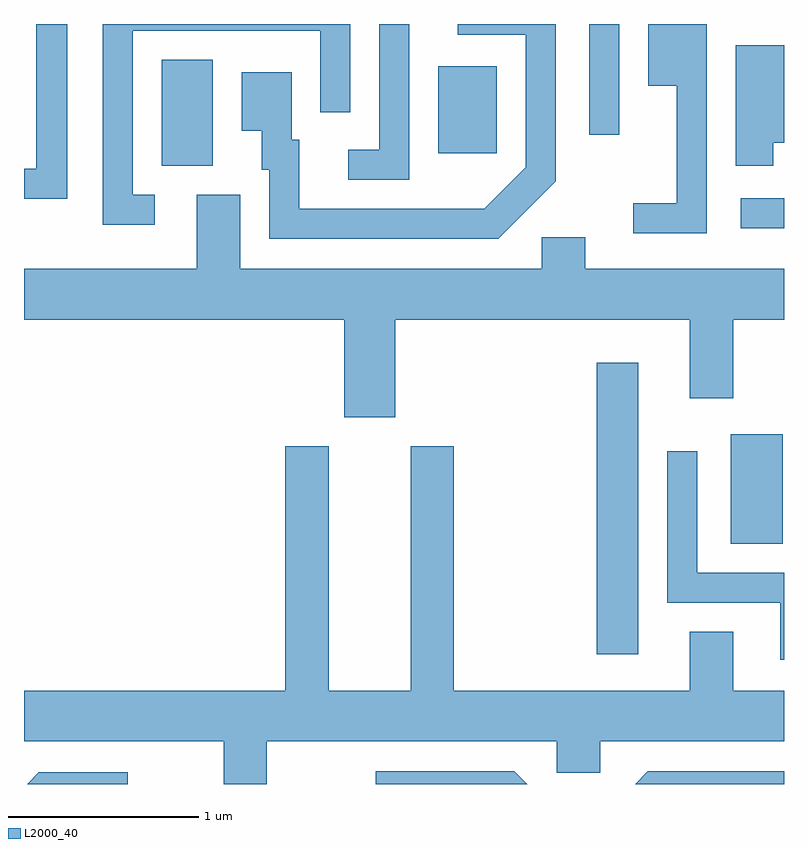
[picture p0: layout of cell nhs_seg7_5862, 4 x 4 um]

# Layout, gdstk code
import gdstk
lib = gdstk.Library(unit=1e-6, precision=1e-09)
def R(c, l, rs):  # rectangles x0, y0, x1, y1
    for r in rs: c.add(gdstk.rectangle(r[:2], r[2:], *l))
def P(c, l, *ps):  # polygons
    for p in ps: c.add(gdstk.Polygon(p, *l))
L2000_40 = (2000, 40)

nhs_seg7_5862 = lib.new_cell('nhs_seg7_5862')
R(nhs_seg7_5862, L2000_40, [(366.626,1776.936,366.844,1778.469), (367.331,1777.516,367.604,1778.094), (367.383,1779.176,367.611,1779.334), (364.336,1779.506,364.604,1780.064), (365.791,1779.571,366.099,1780.029), (366.586,1779.668,366.744,1780.252)])
P(nhs_seg7_5862, L2000_40, [(366.409,1779.424),(366.409,1780.252),(365.893,1780.252),(365.893,1780.196),(366.251,1780.196),(366.251,1779.497),(366.034,1779.279),(365.059,1779.279),(365.059,1779.644),(365.019,1779.644),(365.019,1779.999),(364.756,1779.999),(364.756,1779.691),(364.861,1779.691),(364.861,1779.486),(364.901,1779.486),(364.901,1779.121),(366.107,1779.121)],
  [(365.639,1780.252),(365.481,1780.252),(365.481,1779.589),(365.318,1779.589),(365.318,1779.431),(365.639,1779.431)],
  [(363.839,1780.252),(363.676,1780.252),(363.676,1779.489),(363.611,1779.489),(363.611,1779.331),(363.839,1779.331)],
  [(364.298,1779.354),(364.184,1779.354),(364.184,1780.216),(365.171,1780.216),(365.171,1779.788),(365.329,1779.788),(365.329,1780.252),(364.026,1780.252),(364.026,1779.196),(364.298,1779.196)],
  [(367.204,1780.252),(366.896,1780.252),(366.896,1779.926),(367.046,1779.926),(367.046,1779.309),(366.818,1779.309),(366.818,1779.151),(367.204,1779.151)],
  [(367.554,1779.626),(367.611,1779.626),(367.611,1780.139),(367.356,1780.139),(367.356,1779.506),(367.554,1779.506)],
  [(365.564,1778.696),(367.116,1778.696),(367.116,1778.281),(367.344,1778.281),(367.344,1778.696),(367.611,1778.696),(367.611,1778.964),(366.564,1778.964),(366.564,1779.129),(366.336,1779.129),(366.336,1778.964),(364.749,1778.964),(364.749,1779.354),(364.521,1779.354),(364.521,1778.964),(363.611,1778.964),(363.611,1778.696),(365.296,1778.696),(365.296,1778.181),(365.564,1778.181)],
  [(364.889,1776.476),(366.416,1776.476),(366.416,1776.311),(366.644,1776.311),(366.644,1776.476),(367.611,1776.476),(367.611,1776.744),(367.344,1776.744),(367.344,1777.054),(367.116,1777.054),(367.116,1776.744),(365.874,1776.744),(365.874,1778.029),(365.646,1778.029),(365.646,1776.744),(365.214,1776.744),(365.214,1778.029),(364.986,1778.029),(364.986,1776.744),(363.611,1776.744),(363.611,1776.476),(364.661,1776.476),(364.661,1776.252),(364.889,1776.252)],
  [(367.611,1777.364),(367.154,1777.364),(367.154,1778.003),(366.996,1778.003),(366.996,1777.206),(367.591,1777.206),(367.591,1776.906),(367.611,1776.906)],
  [(367.611,1776.319),(366.894,1776.319),(366.827,1776.252),(367.611,1776.252)],
  [(366.192,1776.319),(365.461,1776.319),(365.461,1776.252),(366.259,1776.252)],
  [(364.158,1776.314),(363.689,1776.314),(363.627,1776.252),(364.158,1776.252)])

lib.write_gds('nhs_seg7_5862.gds')
